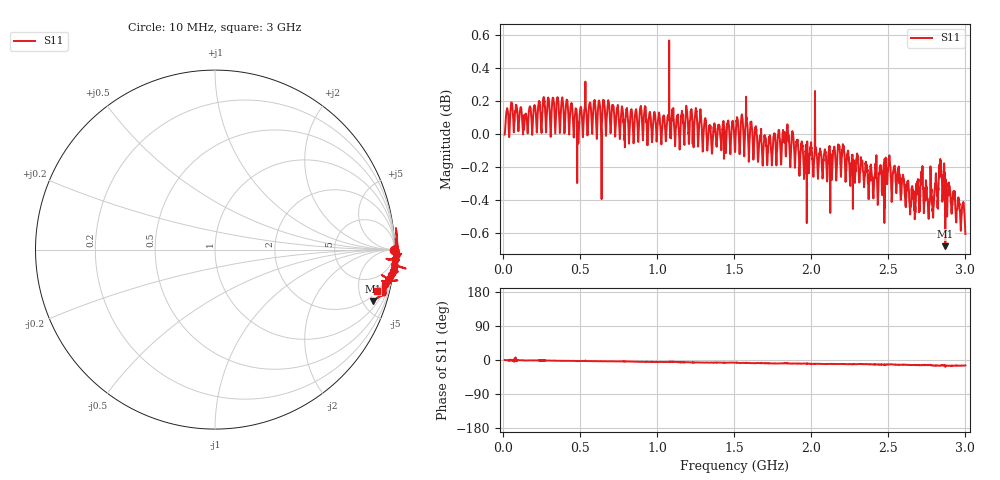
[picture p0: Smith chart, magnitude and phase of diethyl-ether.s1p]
# HZ S RI R 50
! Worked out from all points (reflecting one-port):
!   2020 points, 10 MHz to 3 GHz, reference 50 ohm
!   lowest |S11| = -0.7 dB at 2.87 GHz (marker M1), VSWR 25.68, Z = 73.8 - j295 ohm
!   phase of S11 starts at -0 deg and turns -14 deg over the sweep
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1e7  0.9998 -0.000954
5.738979e7  1.022 0.000953
8.848934e7  1.018 -0.0424
9.737493e7  1.006 -0.00604
2.24735e8  1.014 -0.0218
3.846755e8  1.025 -0.0354
7.578702e8  0.9946 -0.0634
9.918573e8  1.002 -0.0895
1.095522e9  1.011 -0.0794
1.132546e9  1.002 -0.1044
1.299891e9  0.992 -0.1147
1.50574e9  0.9802 -0.1213
1.622734e9  0.9786 -0.1391
1.767865e9  0.9818 -0.1554
1.830064e9  0.9879 -0.1404
1.878935e9  0.9862 -0.1676
2.25361e9  0.9478 -0.1792
2.323214e9  0.9639 -0.1841
2.44317e9  0.9525 -0.197
2.497964e9  0.9525 -0.206
2.626805e9  0.9394 -0.2194
2.706775e9  0.9288 -0.2307
2.742318e9  0.9376 -0.2218
2.797112e9  0.9272 -0.2438
2.843021e9  0.9438 -0.243
2.869678e9  0.8789 -0.2883
2.911144e9  0.9133 -0.2471
3e9  0.9035 -0.2322
